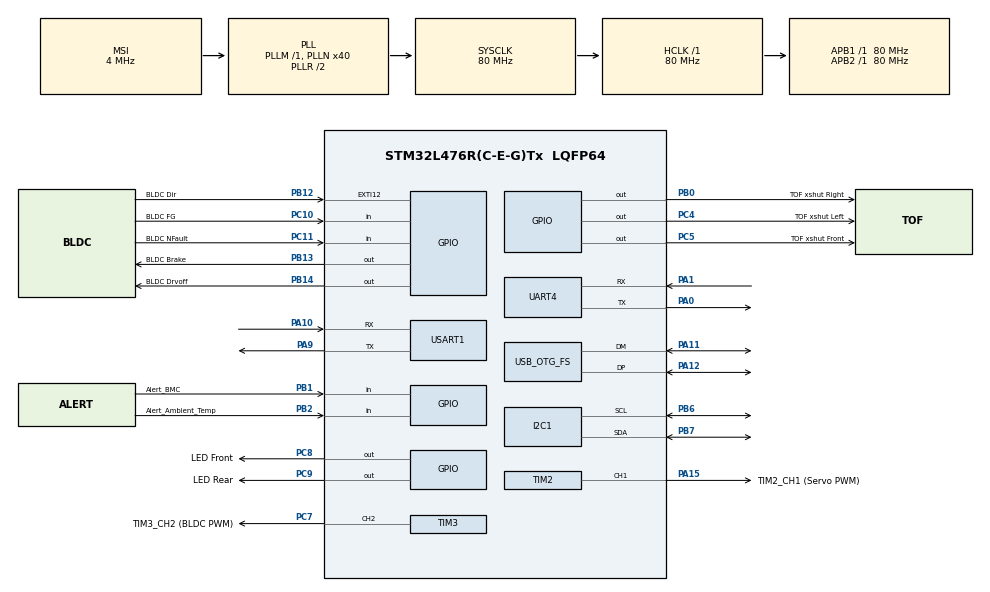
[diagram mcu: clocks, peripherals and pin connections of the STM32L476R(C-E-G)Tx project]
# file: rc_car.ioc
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Dma.I2C1_RX.1.Direction=DMA_PERIPH_TO_MEMORY
Dma.I2C1_RX.1.Instance=DMA2_Channel6
Dma.I2C1_RX.1.MemDataAlignment=DMA_MDATAALIGN_BYTE
Dma.I2C1_RX.1.MemInc=DMA_MINC_ENABLE
Dma.I2C1_RX.1.Mode=DMA_NORMAL
Dma.I2C1_RX.1.PeriphDataAlignment=DMA_PDATAALIGN_BYTE
Dma.I2C1_RX.1.PeriphInc=DMA_PINC_DISABLE
Dma.I2C1_RX.1.Priority=DMA_PRIORITY_LOW
Dma.I2C1_TX.2.Direction=DMA_MEMORY_TO_PERIPH
Dma.I2C1_TX.2.Instance=DMA2_Channel7
Dma.I2C1_TX.2.MemDataAlignment=DMA_MDATAALIGN_BYTE
Dma.I2C1_TX.2.MemInc=DMA_MINC_ENABLE
Dma.I2C1_TX.2.Mode=DMA_NORMAL
Dma.I2C1_TX.2.PeriphDataAlignment=DMA_PDATAALIGN_BYTE
Dma.I2C1_TX.2.PeriphInc=DMA_PINC_DISABLE
Dma.I2C1_TX.2.Priority=DMA_PRIORITY_LOW
Dma.Request0=UART4_RX
Dma.Request1=I2C1_RX
Dma.Request2=I2C1_TX
Dma.UART4_RX.0.Direction=DMA_PERIPH_TO_MEMORY
Dma.UART4_RX.0.Instance=DMA2_Channel5
Dma.UART4_RX.0.MemDataAlignment=DMA_MDATAALIGN_BYTE
Dma.UART4_RX.0.MemInc=DMA_MINC_ENABLE
Dma.UART4_RX.0.Mode=DMA_NORMAL
Dma.UART4_RX.0.PeriphDataAlignment=DMA_PDATAALIGN_BYTE
Dma.UART4_RX.0.PeriphInc=DMA_PINC_DISABLE
Dma.UART4_RX.0.Priority=DMA_PRIORITY_LOW
FREERTOS.Tasks01=defaultTask,24,128,StartDefaultTask,Default,NULL,Dynamic,NULL,NULL
FREERTOS.configTOTAL_HEAP_SIZE=15000
FREERTOS.configUSE_NEWLIB_REENTRANT=1
I2C1.Timing=0x10D19CE4
Mcu.Family=STM32L4
Mcu.Name=STM32L476R(C-E-G)Tx
Mcu.Package=LQFP64
NVIC.DMA2_Channel5_IRQn=true\:5\:0\:false\:false\:true\:true\:false\:true\:true
NVIC.DMA2_Channel6_IRQn=true\:5\:0\:false\:false\:true\:true\:false\:true\:true
NVIC.DMA2_Channel7_IRQn=true\:5\:0\:false\:false\:true\:true\:false\:true\:true
NVIC.PriorityGroup=NVIC_PRIORITYGROUP_4
NVIC.TIM6_DAC_IRQn=true\:15\:0\:false\:false\:true\:false\:false\:true\:true
NVIC.TimeBase=TIM6_DAC_IRQn
NVIC.TimeBaseIP=TIM6
NVIC.UART4_IRQn=true\:5\:0\:false\:false\:true\:true\:true\:true\:true
PA0.Mode=Asynchronous
PA0.Signal=UART4_TX
PA1.Mode=Asynchronous
PA1.Signal=UART4_RX
PA10.Mode=Asynchronous
PA10.Signal=USART1_RX
PA11.Mode=Device_Only
PA11.Signal=USB_OTG_FS_DM
PA12.Mode=Device_Only
PA12.Signal=USB_OTG_FS_DP
PA15\ (JTDI).GPIO_Label=TIM2_CH1 (Servo PWM)
PA15\ (JTDI).Signal=S_TIM2_CH1
PA9.Mode=Asynchronous
PA9.Signal=USART1_TX
PB0.GPIO_Label=TOF xshut Right
PB0.Signal=GPIO_Output
PB1.GPIO_Label=Alert_BMC
PB1.Signal=GPIO_Input
PB12.GPIO_Label=BLDC Dir
PB12.Signal=GPXTI12
PB13.GPIO_Label=BLDC Brake
PB13.Signal=GPIO_Output
PB14.GPIO_Label=BLDC Drvoff
PB14.Signal=GPIO_Output
PB2.GPIO_Label=Alert_Ambient_Temp
PB2.Signal=GPIO_Input
PB6.Mode=I2C
PB6.Signal=I2C1_SCL
PB7.Mode=I2C
PB7.Signal=I2C1_SDA
PC10.GPIO_Label=BLDC FG
PC10.Signal=GPIO_Input
PC11.GPIO_Label=BLDC NFault
PC11.Signal=GPIO_Input
PC4.GPIO_Label=TOF xshut Left
PC4.Signal=GPIO_Output
PC5.GPIO_Label=TOF xshut Front
PC5.Signal=GPIO_Output
PC7.GPIO_Label=TIM3_CH2 (BLDC PWM)
PC7.Signal=S_TIM3_CH2
PC8.GPIO_Label=LED Front
PC8.Signal=GPIO_Output
PC9.GPIO_Label=LED Rear
PC9.Signal=GPIO_Output
ProjectManager.HeapSize=0x200
ProjectManager.StackSize=0x400
ProjectManager.TargetToolchain=STM32CubeIDE
RCC.ADCFreq_Value=48000000
RCC.AHBFreq_Value=80000000
RCC.APB1Freq_Value=80000000
RCC.APB1TimFreq_Value=80000000
RCC.APB2Freq_Value=80000000
RCC.APB2TimFreq_Value=80000000
RCC.CortexFreq_Value=80000000
RCC.HCLKFreq_Value=80000000
RCC.HSE_VALUE=8000000
RCC.HSI_VALUE=16000000
RCC.LSE_VALUE=32768
RCC.MSI_VALUE=4000000
RCC.PLLN=40
RCC.PLLSAI1N=24
RCC.SYSCLKFreq_VALUE=80000000
RCC.SYSCLKSource=RCC_SYSCLKSOURCE_PLLCLK
RCC.USBFreq_Value=48000000
RCC.VCOOutputFreq_Value=160000000
SH.S_TIM2_CH1.0=TIM2_CH1,PWM Generation1 CH1
SH.S_TIM3_CH2.0=TIM3_CH2,PWM Generation2 CH2
TIM2.Channel-PWM\ Generation1\ CH1=TIM_CHANNEL_1
TIM3.Channel-PWM\ Generation2\ CH2=TIM_CHANNEL_2
USART1.VirtualMode-Asynchronous=VM_ASYNC
USB_OTG_FS.VirtualMode=Device_Only
VP_FREERTOS_VS_CMSIS_V2.Mode=CMSIS_V2
VP_SYS_VS_tim6.Mode=TIM6
VP_TIM2_VS_ClockSourceINT.Mode=Internal
VP_TIM3_VS_ClockSourceINT.Mode=Internal
board=custom

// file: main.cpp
/* USER CODE BEGIN Header */
/**
  ******************************************************************************
  * @file           : main.c
  * @brief          : Main program body
  ******************************************************************************
  * @attention
  *
  * Copyright (c) 2026 STMicroelectronics.
  * All rights reserved.
  *
  * This software is licensed under terms that can be found in the LICENSE file
  * in the root directory of this software component.
  * If no LICENSE file comes with this software, it is provided AS-IS.
  *
  ******************************************************************************
  */
/* USER CODE END Header */
#include "main.h"
#include "cmsis_os.h"

/* USER CODE BEGIN Includes */
#include "car.h"
#include "rc_config.h"
#include "tofTask.h"
#include "healthTask.h"
#include "i2cDevice.h"
/* USER CODE END Includes */

I2C_HandleTypeDef hi2c1;
DMA_HandleTypeDef hdma_i2c1_rx;
DMA_HandleTypeDef hdma_i2c1_tx;

TIM_HandleTypeDef htim2;
TIM_HandleTypeDef htim3;

UART_HandleTypeDef huart4;
UART_HandleTypeDef huart1;
DMA_HandleTypeDef hdma_uart4_rx;

PCD_HandleTypeDef hpcd_USB_OTG_FS;

/* Definitions for defaultTask */
osThreadId_t defaultTaskHandle;
const osThreadAttr_t defaultTask_attributes = {
  .name = "defaultTask",
  .stack_size = 512 * 4,
  .priority = (osPriority_t) osPriorityAboveNormal,
};
/* USER CODE BEGIN PV */
Car car(
	/* ESP Communication */
    &huart4,
	/* Steering PWM */
    &htim2,
	TIM_CHANNEL_1,
	/* LEDs */
    GPIOC,
	LED_Front_Pin,
    GPIOC,
	LED_Rear_Pin,
	/* Motor driver */
	&htim3,
	TIM_CHANNEL_2,
	GPIOB,
	BLDC_Dir_Pin,
	GPIOB,
	BLDC_Brake_Pin,
	GPIOB,
	BLDC_Drvoff_Pin
);
/* Front LEDs */
GpioDrive leds_front(GPIOC, GPIO_PIN_8);
/* Rear LEDs */
GpioDrive leds_rear(GPIOC, GPIO_PIN_9);

/* Gamepad parser */
GamepadParser gamepad(&huart4);

/* USER CODE END PV */

void SystemClock_Config(void);
void PeriphCommonClock_Config(void);
static void MX_GPIO_Init(void);
static void MX_DMA_Init(void);
static void MX_I2C1_Init(void);
static void MX_TIM2_Init(void);
static void MX_TIM3_Init(void);
static void MX_UART4_Init(void);
static void MX_USART1_UART_Init(void);
static void MX_USB_OTG_FS_PCD_Init(void);
void StartDefaultTask(void *argument);

/* USER CODE BEGIN PFP */
static void InitConfiguredPeripherals(void);
/* USER CODE END PFP */

int main(void)
{

  /* MCU Configuration--------------------------------------------------------*/

  /* Reset of all peripherals, Initializes the Flash interface and the Systick. */
  HAL_Init();

  /* Configure the system clock */
  SystemClock_Config();

  /* Configure the peripherals common clocks */
  PeriphCommonClock_Config();

  /* USER CODE BEGIN SysInit */
  uint8_t msg[] = "Starting Default task, setting up car\r\n";
  HAL_UART_Transmit(&huart1, msg, sizeof(msg)-1, HAL_MAX_DELAY);
  /* USER CODE END SysInit */

  /* Initialize all configured peripherals */

  /* USER CODE BEGIN 2 */
  InitConfiguredPeripherals();
  /* USER CODE END 2 */

  /* Init scheduler */
  osKernelInitialize();

  /* Create the thread(s) */
  /* creation of defaultTask */
  defaultTaskHandle = osThreadNew(StartDefaultTask, NULL, &defaultTask_attributes);
  /* USER CODE BEGIN RTOS_THREADS */
  /* add threads, ... */
  osThreadAttr_t tofAttr = {};
  tofAttr.name       = "ToFTask";
  tofAttr.stack_size = 1024 * 4;
  tofAttr.priority   = osPriorityAboveNormal;
  osThreadNew(StartToFTask, NULL, &tofAttr);

  osThreadAttr_t healthAttr = {};
  healthAttr.name       = "HealthTask";
  healthAttr.stack_size = 1024 * 4;
  healthAttr.priority   = osPriorityNormal;
  osThreadNew(StartHealthTask, NULL, &healthAttr);
  /* USER CODE END RTOS_THREADS */

  /* Start scheduler */
  osKernelStart();

  /* We should never get here as control is now taken by the scheduler */

  /* Infinite loop */
  while (1)
  {

  }
}

void SystemClock_Config(void)
{
  RCC_OscInitTypeDef RCC_OscInitStruct = {0};
  RCC_ClkInitTypeDef RCC_ClkInitStruct = {0};

  /** Configure the main internal regulator output voltage
  */
  if (HAL_PWREx_ControlVoltageScaling(PWR_REGULATOR_VOLTAGE_SCALE1) != HAL_OK)
  {
    Error_Handler();
  }

  /** Initializes the RCC Oscillators according to the specified parameters
  * in the RCC_OscInitTypeDef structure.
  */
  RCC_OscInitStruct.OscillatorType = RCC_OSCILLATORTYPE_MSI;
  RCC_OscInitStruct.MSIState = RCC_MSI_ON;
  RCC_OscInitStruct.MSICalibrationValue = 0;
  RCC_OscInitStruct.MSIClockRange = RCC_MSIRANGE_6;
  RCC_OscInitStruct.PLL.PLLState = RCC_PLL_ON;
  RCC_OscInitStruct.PLL.PLLSource = RCC_PLLSOURCE_MSI;
  RCC_OscInitStruct.PLL.PLLM = 1;
  RCC_OscInitStruct.PLL.PLLN = 40;
  RCC_OscInitStruct.PLL.PLLP = RCC_PLLP_DIV7;
  RCC_OscInitStruct.PLL.PLLQ = RCC_PLLQ_DIV2;
  RCC_OscInitStruct.PLL.PLLR = RCC_PLLR_DIV2;
  if (HAL_RCC_OscConfig(&RCC_OscInitStruct) != HAL_OK)
  {
    Error_Handler();
  }

  /** Initializes the CPU, AHB and APB buses clocks
  */
  RCC_ClkInitStruct.ClockType = RCC_CLOCKTYPE_HCLK|RCC_CLOCKTYPE_SYSCLK
                              |RCC_CLOCKTYPE_PCLK1|RCC_CLOCKTYPE_PCLK2;
  RCC_ClkInitStruct.SYSCLKSource = RCC_SYSCLKSOURCE_PLLCLK;
  RCC_ClkInitStruct.AHBCLKDivider = RCC_SYSCLK_DIV1;
  RCC_ClkInitStruct.APB1CLKDivider = RCC_HCLK_DIV1;
  RCC_ClkInitStruct.APB2CLKDivider = RCC_HCLK_DIV1;

  if (HAL_RCC_ClockConfig(&RCC_ClkInitStruct, FLASH_LATENCY_4) != HAL_OK)
  {
    Error_Handler();
  }
}

void PeriphCommonClock_Config(void)
{
  RCC_PeriphCLKInitTypeDef PeriphClkInit = {0};

  /** Initializes the peripherals clock
  */
  PeriphClkInit.PeriphClockSelection = RCC_PERIPHCLK_USB|RCC_PERIPHCLK_ADC;
  PeriphClkInit.AdcClockSelection = RCC_ADCCLKSOURCE_PLLSAI1;
  PeriphClkInit.UsbClockSelection = RCC_USBCLKSOURCE_PLLSAI1;
  PeriphClkInit.PLLSAI1.PLLSAI1Source = RCC_PLLSOURCE_MSI;
  PeriphClkInit.PLLSAI1.PLLSAI1M = 1;
  PeriphClkInit.PLLSAI1.PLLSAI1N = 24;
  PeriphClkInit.PLLSAI1.PLLSAI1P = RCC_PLLP_DIV7;
  PeriphClkInit.PLLSAI1.PLLSAI1Q = RCC_PLLQ_DIV2;
  PeriphClkInit.PLLSAI1.PLLSAI1R = RCC_PLLR_DIV2;
  PeriphClkInit.PLLSAI1.PLLSAI1ClockOut = RCC_PLLSAI1_48M2CLK|RCC_PLLSAI1_ADC1CLK;
  if (HAL_RCCEx_PeriphCLKConfig(&PeriphClkInit) != HAL_OK)
  {
    Error_Handler();
  }
}

/*****************/
/* HARDWARE INIT */
/*****************/
static void MX_I2C1_Init(void)
{

  hi2c1.Instance = I2C1;
  hi2c1.Init.Timing = 0x10D19CE4;
  hi2c1.Init.OwnAddress1 = 0;
  hi2c1.Init.AddressingMode = I2C_ADDRESSINGMODE_7BIT;
  hi2c1.Init.DualAddressMode = I2C_DUALADDRESS_DISABLE;
  hi2c1.Init.OwnAddress2 = 0;
  hi2c1.Init.OwnAddress2Masks = I2C_OA2_NOMASK;
  hi2c1.Init.GeneralCallMode = I2C_GENERALCALL_DISABLE;
  hi2c1.Init.NoStretchMode = I2C_NOSTRETCH_DISABLE;
  if (HAL_I2C_Init(&hi2c1) != HAL_OK)
  {
    Error_Handler();
  }

  /** Configure Analogue filter
  */
  if (HAL_I2CEx_ConfigAnalogFilter(&hi2c1, I2C_ANALOGFILTER_ENABLE) != HAL_OK)
  {
    Error_Handler();
  }

  /** Configure Digital filter
  */
  if (HAL_I2CEx_ConfigDigitalFilter(&hi2c1, 0) != HAL_OK)
  {
    Error_Handler();
  }

}

static void MX_TIM2_Init(void)
{

  TIM_ClockConfigTypeDef sClockSourceConfig = {0};
  TIM_MasterConfigTypeDef sMasterConfig = {0};
  TIM_OC_InitTypeDef sConfigOC = {0};

  htim2.Instance = TIM2;
  htim2.Init.Prescaler = STEERING_PWM_PRESCALER;
  htim2.Init.CounterMode = TIM_COUNTERMODE_UP;
  htim2.Init.Period = STEERING_PWM_PERIOD;
  htim2.Init.ClockDivision = TIM_CLOCKDIVISION_DIV1;
  htim2.Init.AutoReloadPreload = TIM_AUTORELOAD_PRELOAD_DISABLE;
  if (HAL_TIM_Base_Init(&htim2) != HAL_OK)
  {
    Error_Handler();
  }
  sClockSourceConfig.ClockSource = TIM_CLOCKSOURCE_INTERNAL;
  if (HAL_TIM_ConfigClockSource(&htim2, &sClockSourceConfig) != HAL_OK)
  {
    Error_Handler();
  }
  if (HAL_TIM_PWM_Init(&htim2) != HAL_OK)
  {
    Error_Handler();
  }
  sMasterConfig.MasterOutputTrigger = TIM_TRGO_RESET;
  sMasterConfig.MasterSlaveMode = TIM_MASTERSLAVEMODE_DISABLE;
  if (HAL_TIMEx_MasterConfigSynchronization(&htim2, &sMasterConfig) != HAL_OK)
  {
    Error_Handler();
  }
  sConfigOC.OCMode = TIM_OCMODE_PWM1;
  sConfigOC.Pulse = 0;
  sConfigOC.OCPolarity = TIM_OCPOLARITY_HIGH;
  sConfigOC.OCFastMode = TIM_OCFAST_DISABLE;
  if (HAL_TIM_PWM_ConfigChannel(&htim2, &sConfigOC, TIM_CHANNEL_1) != HAL_OK)
  {
    Error_Handler();
  }
  HAL_TIM_MspPostInit(&htim2);

}

static void MX_TIM3_Init(void)
{

  TIM_ClockConfigTypeDef sClockSourceConfig = {0};
  TIM_MasterConfigTypeDef sMasterConfig = {0};
  TIM_OC_InitTypeDef sConfigOC = {0};

  htim3.Instance = TIM3;
  htim3.Init.Prescaler = 0;
  htim3.Init.CounterMode = TIM_COUNTERMODE_UP;
  htim3.Init.Period = MOTOR_PWM_PERIOD;
  htim3.Init.ClockDivision = TIM_CLOCKDIVISION_DIV1;
  htim3.Init.AutoReloadPreload = TIM_AUTORELOAD_PRELOAD_DISABLE;
  if (HAL_TIM_Base_Init(&htim3) != HAL_OK)
  {
    Error_Handler();
  }
  sClockSourceConfig.ClockSource = TIM_CLOCKSOURCE_INTERNAL;
  if (HAL_TIM_ConfigClockSource(&htim3, &sClockSourceConfig) != HAL_OK)
  {
    Error_Handler();
  }
  if (HAL_TIM_PWM_Init(&htim3) != HAL_OK)
  {
    Error_Handler();
  }
  sMasterConfig.MasterOutputTrigger = TIM_TRGO_RESET;
  sMasterConfig.MasterSlaveMode = TIM_MASTERSLAVEMODE_DISABLE;
  if (HAL_TIMEx_MasterConfigSynchronization(&htim3, &sMasterConfig) != HAL_OK)
  {
    Error_Handler();
  }
  sConfigOC.OCMode = TIM_OCMODE_PWM1;
  sConfigOC.Pulse = 0;
  sConfigOC.OCPolarity = TIM_OCPOLARITY_HIGH;
  sConfigOC.OCFastMode = TIM_OCFAST_DISABLE;
  if (HAL_TIM_PWM_ConfigChannel(&htim3, &sConfigOC, TIM_CHANNEL_2) != HAL_OK)
  {
    Error_Handler();
  }
  HAL_TIM_MspPostInit(&htim3);

}

static void MX_UART4_Init(void)
{

  huart4.Instance = UART4;
  huart4.Init.BaudRate = ESP_COMM_BAUD_RATE;
  huart4.Init.WordLength = UART_WORDLENGTH_8B;
  huart4.Init.StopBits = UART_STOPBITS_1;
  huart4.Init.Parity = UART_PARITY_NONE;
  huart4.Init.Mode = UART_MODE_TX_RX;
  huart4.Init.HwFlowCtl = UART_HWCONTROL_NONE;
  huart4.Init.OverSampling = UART_OVERSAMPLING_16;
  huart4.Init.OneBitSampling = UART_ONE_BIT_SAMPLE_DISABLE;
  huart4.AdvancedInit.AdvFeatureInit = UART_ADVFEATURE_NO_INIT;
  if (HAL_UART_Init(&huart4) != HAL_OK)
  {
    Error_Handler();
  }

}

static void MX_USART1_UART_Init(void)
{

  huart1.Instance = USART1;
  huart1.Init.BaudRate = DEBUG_COMM_BAUD_RATE;
  huart1.Init.WordLength = UART_WORDLENGTH_8B;
  huart1.Init.StopBits = UART_STOPBITS_1;
  huart1.Init.Parity = UART_PARITY_NONE;
  huart1.Init.Mode = UART_MODE_TX_RX;
  huart1.Init.HwFlowCtl = UART_HWCONTROL_NONE;
  huart1.Init.OverSampling = UART_OVERSAMPLING_16;
  huart1.Init.OneBitSampling = UART_ONE_BIT_SAMPLE_DISABLE;
  huart1.AdvancedInit.AdvFeatureInit = UART_ADVFEATURE_NO_INIT;
  if (HAL_UART_Init(&huart1) != HAL_OK)
  {
    Error_Handler();
  }

}

static void MX_USB_OTG_FS_PCD_Init(void)
{

  hpcd_USB_OTG_FS.Instance = USB_OTG_FS;
  hpcd_USB_OTG_FS.Init.dev_endpoints = 6;
  hpcd_USB_OTG_FS.Init.speed = PCD_SPEED_FULL;
  hpcd_USB_OTG_FS.Init.phy_itface = PCD_PHY_EMBEDDED;
  hpcd_USB_OTG_FS.Init.Sof_enable = DISABLE;
  hpcd_USB_OTG_FS.Init.low_power_enable = DISABLE;
  hpcd_USB_OTG_FS.Init.lpm_enable = DISABLE;
  hpcd_USB_OTG_FS.Init.battery_charging_enable = DISABLE;
  hpcd_USB_OTG_FS.Init.use_dedicated_ep1 = DISABLE;
  hpcd_USB_OTG_FS.Init.vbus_sensing_enable = DISABLE;
  if (HAL_PCD_Init(&hpcd_USB_OTG_FS) != HAL_OK)
  {
    Error_Handler();
  }

}

static void MX_DMA_Init(void)
{

  /* DMA controller clock enable */
  __HAL_RCC_DMA2_CLK_ENABLE();

  /* DMA interrupt init */
  /* DMA2_Channel5_IRQn interrupt configuration */
  HAL_NVIC_SetPriority(DMA2_Channel5_IRQn, 5, 0);
  HAL_NVIC_EnableIRQ(DMA2_Channel5_IRQn);
  /* DMA2_Channel6_IRQn interrupt configuration */
  HAL_NVIC_SetPriority(DMA2_Channel6_IRQn, 5, 0);
  HAL_NVIC_EnableIRQ(DMA2_Channel6_IRQn);
  /* DMA2_Channel7_IRQn interrupt configuration */
  HAL_NVIC_SetPriority(DMA2_Channel7_IRQn, 5, 0);
  HAL_NVIC_EnableIRQ(DMA2_Channel7_IRQn);

}

static void MX_GPIO_Init(void)
{
  GPIO_InitTypeDef GPIO_InitStruct = {0};

  /* GPIO Ports Clock Enable */
  __HAL_RCC_GPIOC_CLK_ENABLE();
  __HAL_RCC_GPIOA_CLK_ENABLE();
  __HAL_RCC_GPIOB_CLK_ENABLE();
  __HAL_RCC_GPIOD_CLK_ENABLE();

  /*Configure GPIO pin Output Level */
  HAL_GPIO_WritePin(GPIOC, TOF_xshut_Left_Pin|TOF_xshut_Front_Pin|LED_Front_Pin|LED_Rear_Pin, GPIO_PIN_RESET);

  /*Configure GPIO pin Output Level */
  HAL_GPIO_WritePin(GPIOB, TOF_xshut_Right_Pin|BLDC_Brake_Pin|BLDC_Drvoff_Pin, GPIO_PIN_RESET);

  /*Configure GPIO pins : TOF_xshut_Left_Pin TOF_xshut_Front_Pin LED_Front_Pin LED_Rear_Pin */
  GPIO_InitStruct.Pin = TOF_xshut_Left_Pin|TOF_xshut_Front_Pin|LED_Front_Pin|LED_Rear_Pin;
  GPIO_InitStruct.Mode = GPIO_MODE_OUTPUT_PP;
  GPIO_InitStruct.Pull = GPIO_NOPULL;
  GPIO_InitStruct.Speed = GPIO_SPEED_FREQ_LOW;
  HAL_GPIO_Init(GPIOC, &GPIO_InitStruct);

  /*Configure GPIO pins : TOF_xshut_Right_Pin BLDC_Brake_Pin BLDC_Drvoff_Pin */
  GPIO_InitStruct.Pin = TOF_xshut_Right_Pin|BLDC_Brake_Pin|BLDC_Drvoff_Pin;
  GPIO_InitStruct.Mode = GPIO_MODE_OUTPUT_PP;
  GPIO_InitStruct.Pull = GPIO_NOPULL;
  GPIO_InitStruct.Speed = GPIO_SPEED_FREQ_LOW;
  HAL_GPIO_Init(GPIOB, &GPIO_InitStruct);

  /*Configure GPIO pins : Alert_BMC_Pin Alert_Ambient_Temp_Pin */
  GPIO_InitStruct.Pin = Alert_BMC_Pin|Alert_Ambient_Temp_Pin;
  GPIO_InitStruct.Mode = GPIO_MODE_INPUT;
  GPIO_InitStruct.Pull = GPIO_NOPULL;
  HAL_GPIO_Init(GPIOB, &GPIO_InitStruct);

  /*Configure GPIO pin : BLDC_Dir_Pin */
  GPIO_InitStruct.Pin = BLDC_Dir_Pin;
  GPIO_InitStruct.Mode = GPIO_MODE_IT_RISING;
  GPIO_InitStruct.Pull = GPIO_NOPULL;
  HAL_GPIO_Init(BLDC_Dir_GPIO_Port, &GPIO_InitStruct);

  /*Configure GPIO pins : BLDC_FG_Pin BLDC_NFault_Pin */
  GPIO_InitStruct.Pin = BLDC_FG_Pin|BLDC_NFault_Pin;
  GPIO_InitStruct.Mode = GPIO_MODE_INPUT;
  GPIO_InitStruct.Pull = GPIO_NOPULL;
  HAL_GPIO_Init(GPIOC, &GPIO_InitStruct);

}

/* USER CODE BEGIN 4 */
/************/
/*USER CODE */
/************/
extern GamepadParser gamepad;

void HAL_UARTEx_RxEventCallback(UART_HandleTypeDef *huart, uint16_t Size){
    if(huart->Instance == UART4){
    	car.uartRxCallback(Size);
    }
}

void HAL_I2C_MasterRxCpltCallback(I2C_HandleTypeDef *hi2c){
    if(hi2c->Instance == I2C1 && I2cDevice::s_activeDevice != NULL){
        I2cDevice::s_activeDevice->onDmaComplete();
        I2cDevice::s_activeDevice = NULL;
    }
}

static void InitConfiguredPeripherals(void){
	#if GPIO_ENABLE
		MX_GPIO_Init();
	#endif

	MX_DMA_Init();

	#if I2C1_ENABLE
	  MX_I2C1_Init();
	#endif

	#if STEERING_PWM_ENABLE
	  MX_TIM2_Init();
	#endif

	#if MOTOR_PWM_ENABLE
	  MX_TIM3_Init();
	#endif

	#if ESP_COMM_ENABLE
	  MX_UART4_Init();
	#endif

	#if DEBUG_COMM_ENABLE
	  MX_USART1_UART_Init();
	#endif

//	MX_USB_OTG_FS_PCD_Init();
}
/* USER CODE END 4 */

void StartDefaultTask(void *argument)
{
  /* USER CODE BEGIN 5 */
  uint8_t msg[] = "Starting Default task, setting up car\r\n";
  HAL_UART_Transmit(&huart1, msg, sizeof(msg)-1, HAL_MAX_DELAY);

  car.init();

  /* Send start condition to ESP32 */
  uint8_t ready = 'R';
  HAL_UART_Transmit(&huart4, &ready, 1, HAL_MAX_DELAY);

  /* Infinite loop */
  for(;;){
	car.update();
  }
  /* USER CODE END 5 */
}

void HAL_TIM_PeriodElapsedCallback(TIM_HandleTypeDef *htim)
{
  if (htim->Instance == TIM6)
  {
    HAL_IncTick();
  }
}

void Error_Handler(void)
{
  __disable_irq();
  while (1)
  {
  }
}
